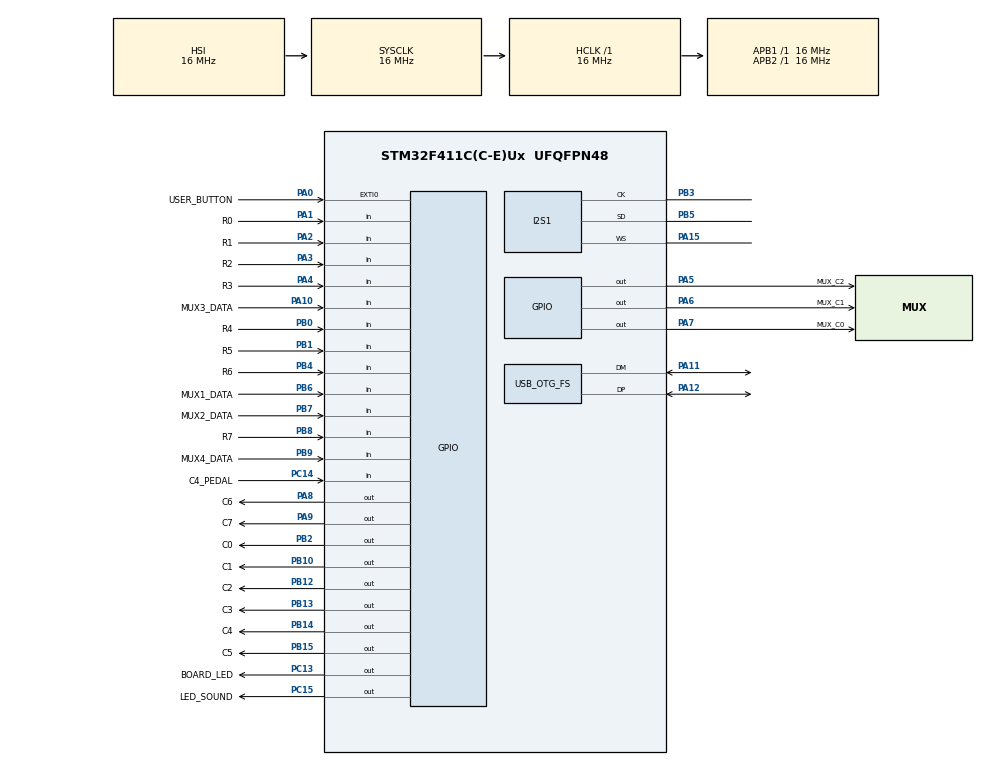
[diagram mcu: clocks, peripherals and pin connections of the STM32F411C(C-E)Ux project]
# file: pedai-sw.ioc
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Dma.MEMTOMEM.1.Direction=DMA_MEMORY_TO_MEMORY
Dma.MEMTOMEM.1.FIFOMode=DMA_FIFOMODE_ENABLE
Dma.MEMTOMEM.1.FIFOThreshold=DMA_FIFO_THRESHOLD_FULL
Dma.MEMTOMEM.1.Instance=DMA2_Stream0
Dma.MEMTOMEM.1.MemBurst=DMA_MBURST_SINGLE
Dma.MEMTOMEM.1.MemDataAlignment=DMA_MDATAALIGN_BYTE
Dma.MEMTOMEM.1.MemInc=DMA_MINC_ENABLE
Dma.MEMTOMEM.1.Mode=DMA_NORMAL
Dma.MEMTOMEM.1.PeriphBurst=DMA_PBURST_SINGLE
Dma.MEMTOMEM.1.PeriphDataAlignment=DMA_PDATAALIGN_BYTE
Dma.MEMTOMEM.1.PeriphInc=DMA_PINC_ENABLE
Dma.MEMTOMEM.1.Priority=DMA_PRIORITY_LOW
Dma.Request0=SPI1_TX
Dma.Request1=MEMTOMEM
Dma.SPI1_TX.0.Direction=DMA_MEMORY_TO_PERIPH
Dma.SPI1_TX.0.FIFOMode=DMA_FIFOMODE_DISABLE
Dma.SPI1_TX.0.Instance=DMA2_Stream2
Dma.SPI1_TX.0.MemDataAlignment=DMA_MDATAALIGN_HALFWORD
Dma.SPI1_TX.0.MemInc=DMA_MINC_ENABLE
Dma.SPI1_TX.0.Mode=DMA_CIRCULAR
Dma.SPI1_TX.0.PeriphDataAlignment=DMA_PDATAALIGN_HALFWORD
Dma.SPI1_TX.0.PeriphInc=DMA_PINC_DISABLE
Dma.SPI1_TX.0.Priority=DMA_PRIORITY_VERY_HIGH
I2S1.AudioFreq=I2S_AUDIOFREQ_22K
I2S1.ErrorAudioFreq=0.03 %
I2S1.FullDuplexMode=I2S_FULLDUPLEXMODE_DISABLE
I2S1.Instance=SPI$Index
I2S1.RealAudioFreq=22.007 KHz
I2S1.VirtualMode=I2S_MODE_MASTER
Mcu.Family=STM32F4
Mcu.Name=STM32F411C(C-E)Ux
Mcu.Package=UFQFPN48
NVIC.DMA2_Stream2_IRQn=true\:0\:0\:false\:false\:true\:false\:true\:true
NVIC.OTG_FS_IRQn=true\:0\:0\:false\:false\:true\:true\:true\:true
NVIC.PriorityGroup=NVIC_PRIORITYGROUP_4
NVIC.SPI1_IRQn=true\:0\:0\:false\:false\:true\:true\:true\:true
PA0-WKUP.GPIO_Label=USER_BUTTON
PA0-WKUP.Signal=GPXTI0
PA1.GPIO_Label=R0
PA1.GPIO_PuPd=GPIO_PULLDOWN
PA1.Signal=GPIO_Input
PA10.GPIO_Label=MUX3_DATA
PA10.Signal=GPIO_Input
PA11.Mode=Device_Only
PA11.Signal=USB_OTG_FS_DM
PA12.Mode=Device_Only
PA12.Signal=USB_OTG_FS_DP
PA13.Mode=Serial_Wire
PA13.Signal=SYS_JTMS-SWDIO
PA14.Mode=Serial_Wire
PA14.Signal=SYS_JTCK-SWCLK
PA15.Mode=Half_Duplex_Master
PA15.Signal=I2S1_WS
PA2.GPIO_Label=R1
PA2.GPIO_PuPd=GPIO_PULLDOWN
PA2.Signal=GPIO_Input
PA3.GPIO_Label=R2
PA3.GPIO_PuPd=GPIO_PULLDOWN
PA3.Signal=GPIO_Input
PA4.GPIO_Label=R3
PA4.GPIO_PuPd=GPIO_PULLDOWN
PA4.Signal=GPIO_Input
PA5.GPIO_Label=MUX_C2
PA5.Signal=GPIO_Output
PA6.GPIO_Label=MUX_C1
PA6.Signal=GPIO_Output
PA7.GPIO_Label=MUX_C0
PA7.Signal=GPIO_Output
PA8.GPIO_Label=C6
PA8.Signal=GPIO_Output
PA9.GPIO_Label=C7
PA9.Signal=GPIO_Output
PB0.GPIO_Label=R4
PB0.GPIO_PuPd=GPIO_PULLDOWN
PB0.Signal=GPIO_Input
PB1.GPIO_Label=R5
PB1.GPIO_PuPd=GPIO_PULLDOWN
PB1.Signal=GPIO_Input
PB10.GPIO_Label=C1
PB10.Signal=GPIO_Output
PB12.GPIO_Label=C2
PB12.Signal=GPIO_Output
PB13.GPIO_Label=C3
PB13.Signal=GPIO_Output
PB14.GPIO_Label=C4
PB14.Signal=GPIO_Output
PB15.GPIO_Label=C5
PB15.Signal=GPIO_Output
PB2.GPIO_Label=C0
PB2.Signal=GPIO_Output
PB3.Mode=Half_Duplex_Master
PB3.Signal=I2S1_CK
PB4.GPIO_Label=R6
PB4.GPIO_PuPd=GPIO_PULLDOWN
PB4.Signal=GPIO_Input
PB5.Mode=Half_Duplex_Master
PB5.Signal=I2S1_SD
PB6.GPIO_Label=MUX1_DATA
PB6.GPIO_PuPd=GPIO_NOPULL
PB6.Signal=GPIO_Input
PB7.GPIO_Label=MUX2_DATA
PB7.GPIO_PuPd=GPIO_NOPULL
PB7.Signal=GPIO_Input
PB8.GPIO_Label=R7
PB8.GPIO_PuPd=GPIO_PULLDOWN
PB8.Signal=GPIO_Input
PB9.GPIO_Label=MUX4_DATA
PB9.Signal=GPIO_Input
PC13-ANTI_TAMP.GPIO_Label=BOARD_LED
PC13-ANTI_TAMP.Signal=GPIO_Output
PC14-OSC32_IN.GPIO_Label=C4_PEDAL
PC14-OSC32_IN.GPIO_PuPd=GPIO_PULLUP
PC14-OSC32_IN.Signal=GPIO_Input
PC15-OSC32_OUT.GPIO_Label=LED_SOUND
PC15-OSC32_OUT.Signal=GPIO_Output
PH0\ -\ OSC_IN.Mode=HSE-External-Oscillator
PH0\ -\ OSC_IN.Signal=RCC_OSC_IN
PH1\ -\ OSC_OUT.Mode=HSE-External-Oscillator
PH1\ -\ OSC_OUT.Signal=RCC_OSC_OUT
ProjectManager.HeapSize=0x200
ProjectManager.StackSize=0x400
ProjectManager.TargetToolchain=Makefile
RCC.48MHZClocksFreq_Value=48000000
RCC.AHBFreq_Value=16000000
RCC.APB1Freq_Value=16000000
RCC.APB2Freq_Value=16000000
RCC.CortexFreq_Value=16000000
RCC.HSE_VALUE=25000000
RCC.HSI_VALUE=16000000
RCC.LSE_VALUE=32768
RCC.PLLM=15
RCC.PLLN=144
RCC.PLLQ=5
RCC.SYSCLKFreq_VALUE=16000000
RCC.VCOOutputFreq_Value=240000000
USB_OTG_FS.VirtualMode=Device_Only
VP_CRC_VS_CRC.Mode=CRC_Activate
board=custom

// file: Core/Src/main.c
/* USER CODE BEGIN Header */
/**
  ******************************************************************************
  * @file           : main.c
  * @brief          : Main program body
  ******************************************************************************
  * @attention
  *
  * Copyright (c) 2024 STMicroelectronics.
  * All rights reserved.
  *
  * This software is licensed under terms that can be found in the LICENSE file
  * in the root directory of this software component.
  * If no LICENSE file comes with this software, it is provided AS-IS.
  *
  ******************************************************************************
  */
/* USER CODE END Header */
#include "main.h"

#include "crc.h"
#include "dma.h"
#include "gpio.h"
#include "i2s.h"
#include "usb_otg.h"

/* USER CODE BEGIN Includes */

#include "arm_math.h"
#include "dsp_tools.h"
#include "key_reader.h"
#include "lcd1602a.h"
#include "midi_player.h"
#include "ped_config.h"
#include "sound_player.h"
#include "tusb.h"

#include <stdio.h>

/* USER CODE END Includes */

void SystemClock_Config(void);

/* USER CODE BEGIN 0 */

uint32_t get_current_time_ms() {
    return HAL_GetTick();
}

#if PED_USB_DEVICE_CLASS == PED_USB_CDC_CLASS

uint32_t prevtime = 0;

void cdc_example_keep_alive_task(void) {
    char log_str[BUFSIZ];
    snprintf(log_str, BUFSIZ, "I am alive at time %lu, in Gigi's house\n\n", HAL_GetTick());
    if (tud_cdc_write_available() && (HAL_GetTick() - prevtime) > 6000) {
        prevtime = HAL_GetTick();
        tud_cdc_write_str(log_str);
        tud_cdc_write_flush();
    }
}

volatile bool tud_cdc_tx_is_completed = true;

void tud_cdc_tx_complete_cb(uint8_t itf) {
    tud_cdc_tx_is_completed = true;
}

void usb_write(const char *str_base) {
    char *str = str_base;
    while (strlen(str) > 64) {
        tud_cdc_n_write(0, str, 64 * sizeof(char));
        tud_cdc_write_flush();
        str += 64 * sizeof(char);
    }
    size_t len = strlen(str);
    tud_cdc_n_write(0, str, len * sizeof(char));
    tud_cdc_write_flush();
    char tmpbuf[2];
    tmpbuf[0] = '\r';
    tmpbuf[1] = '\n';
    tmpbuf[2] = '\0';
    tud_cdc_n_write(0, tmpbuf, 2 * sizeof(char));
    tud_cdc_write_flush();
}

#elif PED_USB_DEVICE_CLASS == PED_USB_MIDI_CLASS

/*
    // MIDI EXAMPLE FOR SEND NOTE
    void send_midi_note_on(uint8_t note, uint8_t velocity) {
        uint8_t packet[4] = {
            0x09,           // USB MIDI code index number (Note On)
            0x90,           // MIDI message (Note On, channel 0)
            note,           // Note number (e.g., middle C = 60)
            velocity        // Velocity (0-127)
        };
        tud_midi_stream_write(0, packet, 4);
    }
*/

/*
    // MIDI EXAMPLE TASK

    // Variable that holds the current position in the sequence.
    uint32_t note_pos = 0;

    // Store example melody as an array of note values
    const uint8_t note_sequence[] = {60,61,62,63,64,65,66,67,68,69,70,71};

    void midi_example_melody_task(void) {
        static uint32_t start_ms = 0;

        uint8_t const cable_num = 0;  // MIDI jack associated with USB endpoint
        uint8_t const channel   = 0;  // 0 for channel 1

        // The MIDI interface always creates input and output port/jack descriptors
        // regardless of these being used or not. Therefore incoming traffic should be read
        // (possibly just discarded) to avoid the sender blocking in IO
        while (tud_midi_available()) {
            uint8_t packet[4];
            tud_midi_packet_read(packet);
        }

        // send note periodically
        if (get_current_time_ms() - start_ms < 286) {
            return;  // not enough time
        }
        start_ms += 286;

        // Previous positions in the note sequence.
        int previous = (int)(note_pos - 1);

        // If we currently are at position 0, set the
        // previous position to the last note in the sequence.
        if (previous < 0) {
            previous = sizeof(note_sequence) - 1;
        }

        // Send Note On for current position at full velocity (127) on channel 1.
        uint8_t note_on[3] = {0x90 | channel, note_sequence[note_pos], 127};
        tud_midi_stream_write(cable_num, note_on, 3);

        // Send Note Off for previous note.
        uint8_t note_off[3] = {0x80 | channel, note_sequence[previous], 0};
        tud_midi_stream_write(cable_num, note_off, 3);

        // Increment position
        note_pos++;

        // If we are at the end of the sequence, start over.
        if (note_pos >= sizeof(note_sequence)) {
            note_pos = 0;
        }
    }
*/

#endif

/* USER CODE END 0 */

int main(void) {

    /* MCU Configuration--------------------------------------------------------*/

    /* Reset of all peripherals, Initializes the Flash interface and the Systick. */
    HAL_Init();

    /* Configure the system clock */
    SystemClock_Config();

    /* Initialize all configured peripherals */
    MX_GPIO_Init();
    MX_DMA_Init();
    MX_I2S1_Init();
    MX_USB_OTG_FS_PCD_Init();
    MX_CRC_Init();
    /* USER CODE BEGIN 2 */

    HAL_GPIO_WritePin(BOARD_LED_GPIO_Port, BOARD_LED_Pin, GPIO_PIN_SET);  // the board led has inverse logic

    /*
        while(1) {
            HAL_GPIO_WritePin(BOARD_LED_GPIO_Port, BOARD_LED_Pin, GPIO_PIN_SET);
            HAL_Delay(1000);
            HAL_GPIO_WritePin(BOARD_LED_GPIO_Port, BOARD_LED_Pin, GPIO_PIN_RESET);
            HAL_Delay(100);
        }
    */

#if PED_USB_DEVICE_CLASS == PED_USB_CDC_CLASS
    tusb_rhport_init_t dev_init = {.role = TUSB_ROLE_DEVICE, .speed = TUSB_SPEED_AUTO};
    tusb_init(BOARD_TUD_RHPORT, &dev_init);
#elif PED_USB_DEVICE_CLASS == PED_USB_MIDI_CLASS
    midi_player_init();
#endif

    lcd_1602a_init();
    lcd_1602a_write_text("INIT");

#if HW_KEY_ACQUISITION_MODE == HW_KEYS_MAT
    bool pstate_keys[N_HW_KEYS]         = {0};
    bool nstate_keys[N_HW_KEYS]         = {0};
    bool pstate_pedals[N_HW_PEDAL_KEYS] = {0};
    bool nstate_pedals[N_HW_PEDAL_KEYS] = {0};
#else
#error Not yet implemented
#endif

#if SOUND_PLAYER_I2S != PED_DISABLED
    sound_player_init();
#endif

#if HARDWARE_KEYS_ENABLED == PED_ENABLED

#if HW_KEY_ACQUISITION_MODE == HW_KEYS_MAT
    init_keys();
#else
#error Not yet implemented
#endif

#else
    size_t melody_ptr                  = 0;
#define melody_len 12
    const size_t note_duration_ms      = 1000;
    size_t last_changed_note           = HAL_GetTick();
    bool melody[melody_len][N_HW_KEYS] = {0};
    melody[0][32]                      = 1;
    melody[1][34]                      = 1;
    melody[2][36]                      = 1;
    melody[3][32]                      = 1;
    melody[4][32]                      = 1;
    melody[5][34]                      = 1;
    melody[6][36]                      = 1;
    melody[7][32]                      = 1;
    melody[8][36]                      = 1;
    melody[9][37]                      = 1;
    melody[10][39]                     = 1;
    melody[11][37]                     = 1;
#endif

    // As requestes by the MIDI example
    HAL_Delay(286);

#define data_size (4096U)
    int16_t data[data_size];
    double frequenza_la = 442.0;
    for (size_t i = 0; i < data_size; i++) {
        data[i] = (int16_t) (5000.0 * sin(AUDIO_FREQUENCY_HZ / frequenza_la * 2.0 * PI));
    }

    while (1) {
        HAL_I2S_Transmit(&hi2s1, data, data_size, 20000);
    }

    /* USER CODE END 2 */

    /* Infinite loop */
    while (1) {

        /* USER CODE BEGIN 3 */

#if HARDWARE_KEYS_ENABLED == PED_ENABLED
        read_keys(nstate_keys);
        read_pedals(nstate_pedals);
#else
        if (HAL_GetTick() - last_changed_note > note_duration_ms) {
            last_changed_note = HAL_GetTick();
            memcpy(nstate_keys, melody[melody_ptr], N_HW_KEYS * sizeof(bool));
            melody_ptr++;
            melody_ptr %= melody_len;

            // char log_str[BUFSIZ];
            // ssize_t log_str_ptr = 0;
            // for (size_t isem = 1; isem <= N_HW_KEYS; isem++) {
            // if (nstate_keys[isem]) {
            // ssize_t to_add = snprintf(log_str + log_str_ptr, BUFSIZ - log_str_ptr, "%s ", note_names[isem]);
            // log_str_ptr += to_add;
            // }
            // }
            // lcd_1602a_write_text(log_str);
        }
#endif

#if PED_USB_DEVICE_CLASS == PED_USB_CDC_CLASS
        tud_task();

        // print pedals state
        static uint32_t last_changed_note = 0;
        if (HAL_GetTick() - last_changed_note > 200) {
            last_changed_note   = HAL_GetTick();
            char buffer[BUFSIZ] = {0};
            size_t bptr         = 0;
            for (size_t i = 0; i < N_HW_PEDAL_KEYS; i++) {
                if (nstate_pedals[i]) {
                    size_t to_add = snprintf(buffer + bptr, BUFSIZ, "X");
                    bptr += to_add;
                } else {
                    size_t to_add = snprintf(buffer + bptr, BUFSIZ, "0");
                    bptr += to_add;
                }
            }
            buffer[bptr] = 0;
            usb_write(buffer);
        }

        /*
        *   static uint32_t last_sent_keys = 0;
        *   if (HAL_GetTick() - last_sent_keys > 200) {
        *       last_sent_keys      = HAL_GetTick();
        *       char buffer[BUFSIZ] = {0};
        *       size_t bptr         = 0;
        *       for (size_t i = 0; i < N_HW_KEYS; i++) {
        *           if (nstate_keys[i]) {
        *               size_t to_add = snprintf(buffer + bptr, BUFSIZ, "X");
        *               bptr += to_add;
        *           } else {
        *               size_t to_add = snprintf(buffer + bptr, BUFSIZ, "0");
        *               bptr += to_add;
        *           }
        *       }
        *       buffer[bptr] = 0;
        *       PRINTLN(buffer, BUFSIZ);
        *   }
        */

#if 0
// Experiments with DSP library
#define N (32)

        // while (!tud_cdc_tx_is_completed);

        static uint32_t last_sent = 0;
        if (HAL_GetTick() - last_sent > 500) {
            last_sent = HAL_GetTick();

            tud_cdc_tx_is_completed = false;
            char log_str[BUFSIZ];
            int log_str_ptr = 0;

            q15_t input[N];
            for (size_t i = 0; i < N; i++) {
                input[i] = i;
            }
            q15_t output[N];
            if (!fft(output, input, N)) {
                snprintf(log_str, BUFSIZ, "FFT error");
            } else {
                for (size_t i = 0; i < N; i++) {
                    int to_add = snprintf(log_str + log_str_ptr, BUFSIZ - log_str_ptr, "%" PRIi16 " ", output[i]);
                    log_str_ptr += to_add;
                }
            }
            usb_write(log_str);
        }
#endif
        // cdc_example_keep_alive_task();
#elif PED_USB_DEVICE_CLASS == PED_USB_MIDI_CLASS
        tud_task();

        // This is the example task
        // midi_example_melody_task();

        midi_player_update(pstate_keys, nstate_keys, pstate_pedals, nstate_pedals);
#endif

        // play only one note in blocking mode
        // HAL_I2S_Transmit(&hi2s1, (uint16_t*) sample_D2_22kHz_corpo, SAMPLE_D2_22KHZ_CORPO_L, 10000);

#if SOUND_PLAYER_I2S != PED_DISABLED
        sound_player_routine(pstate_keys, nstate_keys, pstate_pedals, nstate_pedals);
#endif
        memcpy(pstate_keys, nstate_keys, N_HW_KEYS * sizeof(bool));
        memcpy(pstate_pedals, nstate_pedals, N_HW_PEDAL_KEYS * sizeof(bool));
    }
    /* USER CODE END 3 */
}

void SystemClock_Config(void) {
    RCC_OscInitTypeDef RCC_OscInitStruct = {0};
    RCC_ClkInitTypeDef RCC_ClkInitStruct = {0};

    /** Configure the main internal regulator output voltage
  */
    __HAL_RCC_PWR_CLK_ENABLE();
    __HAL_PWR_VOLTAGESCALING_CONFIG(PWR_REGULATOR_VOLTAGE_SCALE1);

    /** Initializes the RCC Oscillators according to the specified parameters
  * in the RCC_OscInitTypeDef structure.
  */
    RCC_OscInitStruct.OscillatorType      = RCC_OSCILLATORTYPE_HSI | RCC_OSCILLATORTYPE_HSE;
    RCC_OscInitStruct.HSEState            = RCC_HSE_ON;
    RCC_OscInitStruct.HSIState            = RCC_HSI_ON;
    RCC_OscInitStruct.HSICalibrationValue = RCC_HSICALIBRATION_DEFAULT;
    RCC_OscInitStruct.PLL.PLLState        = RCC_PLL_ON;
    RCC_OscInitStruct.PLL.PLLSource       = RCC_PLLSOURCE_HSE;
    RCC_OscInitStruct.PLL.PLLM            = 15;
    RCC_OscInitStruct.PLL.PLLN            = 144;
    RCC_OscInitStruct.PLL.PLLP            = RCC_PLLP_DIV2;
    RCC_OscInitStruct.PLL.PLLQ            = 5;
    if (HAL_RCC_OscConfig(&RCC_OscInitStruct) != HAL_OK) {
        Error_Handler();
    }

    /** Initializes the CPU, AHB and APB buses clocks
  */
    RCC_ClkInitStruct.ClockType      = RCC_CLOCKTYPE_HCLK | RCC_CLOCKTYPE_SYSCLK | RCC_CLOCKTYPE_PCLK1 | RCC_CLOCKTYPE_PCLK2;
    RCC_ClkInitStruct.SYSCLKSource   = RCC_SYSCLKSOURCE_HSI;
    RCC_ClkInitStruct.AHBCLKDivider  = RCC_SYSCLK_DIV1;
    RCC_ClkInitStruct.APB1CLKDivider = RCC_HCLK_DIV1;
    RCC_ClkInitStruct.APB2CLKDivider = RCC_HCLK_DIV1;

    if (HAL_RCC_ClockConfig(&RCC_ClkInitStruct, FLASH_LATENCY_0) != HAL_OK) {
        Error_Handler();
    }
}

void Error_Handler(void) {
    /* USER CODE BEGIN Error_Handler_Debug */
    /* User can add his own implementation to report the HAL error return state */

#if PED_USB_DEVICE_CLASS == PED_USB_CDC_CLASS
#warning [JUST A WARNING] Interrupts are not disabled in Error_Handler() to allow logging
    // __disable_irq();
    static uint32_t last_msg_sent = 0;
    while (1) {
        tud_task();
        if (HAL_GetTick() - last_msg_sent > 1000) {
            // last_msg_sent = HAL_GetTick();
            // char buffer[BUFSIZ];
            // snprintf(buffer, BUFSIZ, "PEDAL ERROR!!!");
            // PRINTLN(buffer, BUFSIZ);
        }
    }
#else
    __disable_irq();
    while (1)
        ;
#endif
    /* USER CODE END Error_Handler_Debug */
}
